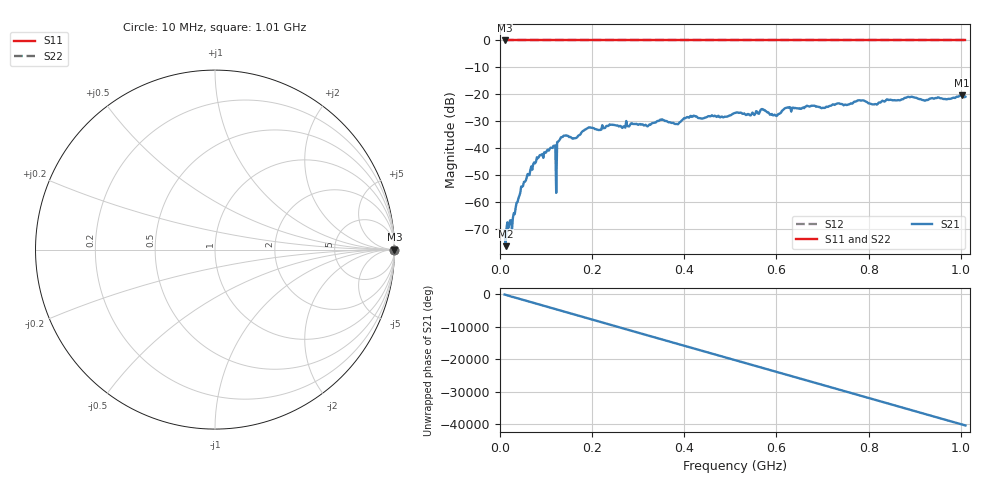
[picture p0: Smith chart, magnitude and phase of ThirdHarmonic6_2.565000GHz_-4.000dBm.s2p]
! 8/17/2025 5:19:48 AM
! C:\ANRITSUVNA\TEMP\TEMP.S2P
! CHANNEL.1
! TR.MEASUREMENT
! RAW.DATA
! RF.CORRECTION.OFF
! AVERAGING.OFF
! IF.BANDWIDTH: 5KHZ
! SWEEPTYPE:  FREQ.SWEEP(Linear)
! Reference Plane Port Info
! PORT:  PORT1  PORT2
! DISTANCE:  0  m  0  m
! TIME:  0  s  0  s
! PHASE.OFFSET:  0  deg.  0  deg.
! LOSS:  0  dB  0  dB
! REF.LOSS:  0  dB  0  dB
! REF.FREQ:  0  Hz  0  Hz
! Power Info
! POWER:  -20  dBm  -20  dBm
! EFF.POWER:  -20  dBm  -20  dBm
! SOURCE.ATTEN:  0  dB  0  dB
! TEST.ATTEN:  0  dB  0  dB
# GHZ S RI R 50.0
! FREQ.GHZ  S11RE  S11IM  S21RE  S21IM  S12RE  S12IM  S22RE  S22IM
!; PortSelection: Port_12
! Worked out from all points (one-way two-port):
!   501 points, 10 MHz to 1.01 GHz, reference 50 ohm
!   highest |S21| = -20.31 dB at 1.002 GHz (marker M1); lowest = -76.2 dB at 12 MHz (marker M2)
!   lowest |S11| = 0.0 dB at 10 MHz (marker M3)
!   |S11| at or under -10 dB: nowhere
!   |S22| runs from 0.0 to 0.0 dB; largest |S21 - S12| = 1.1
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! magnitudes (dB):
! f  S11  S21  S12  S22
! 10 MHz  0.0  -70.5  0.0  0.0
! 12 MHz  0.0  -76.2  0.0  0.0
! 28 MHz  0.0  -65.7  0.0  0.0
! 50 MHz  0.0  -53.9  0.0  0.0
! 84 MHz  0.0  -43.3  0.0  0.0
! 116 MHz  0.0  -39.1  0.0  0.0
! 118 MHz  0.0  -39.0  0.0  0.0
! 126 MHz  0.0  -37.4  0.0  0.0
! 128 MHz  0.0  -37.1  0.0  0.0
! 134 MHz  0.0  -35.8  0.0  0.0
! 178 MHz  0.0  -33.8  0.0  0.0
! 344 MHz  0.0  -29.8  0.0  0.0
! 384 MHz  0.0  -30.9  0.0  0.0
! 416 MHz  0.0  -28.3  0.0  0.0
! 510 MHz  0.0  -26.9  0.0  0.0
! 570 MHz  0.0  -25.4  0.0  0.0
! 598 MHz  0.0  -27.8  0.0  0.0
! 624 MHz  0.0  -24.8  0.0  0.0
! 678 MHz  0.0  -24.2  0.0  0.0
! 844 MHz  0.0  -22.1  0.0  0.0
! 1.002 GHz  0.0  -20.3  0.0  0.0
! 1.01 GHz  0.0  -20.8  0.0  0.0
